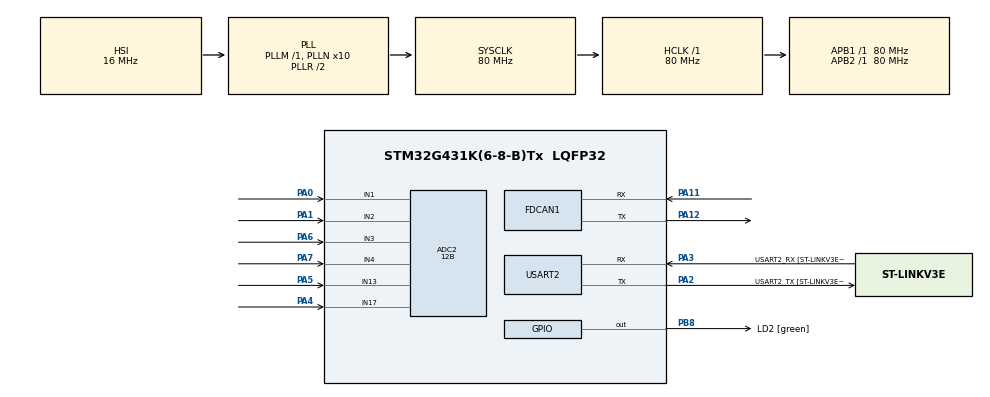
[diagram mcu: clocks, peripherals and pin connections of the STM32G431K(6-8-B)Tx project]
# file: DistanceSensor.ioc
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ADC2.Channel-0\#ChannelRegularConversion=ADC_CHANNEL_1
ADC2.Channel-1\#ChannelRegularConversion=ADC_CHANNEL_2
ADC2.Channel-2\#ChannelRegularConversion=ADC_CHANNEL_17
ADC2.Channel-3\#ChannelRegularConversion=ADC_CHANNEL_13
ADC2.Channel-4\#ChannelRegularConversion=ADC_CHANNEL_3
ADC2.Channel-5\#ChannelRegularConversion=ADC_CHANNEL_4
ADC2.ContinuousConvMode=ENABLE
ADC2.DMAContinuousRequests=ENABLE
ADC2.LowPowerAutoWait=ENABLE
ADC2.NbrOfConversion=6
ADC2.NbrOfConversionFlag=1
ADC2.OffsetNumber-0\#ChannelRegularConversion=ADC_OFFSET_NONE
ADC2.OffsetNumber-1\#ChannelRegularConversion=ADC_OFFSET_NONE
ADC2.OffsetNumber-2\#ChannelRegularConversion=ADC_OFFSET_NONE
ADC2.OffsetNumber-3\#ChannelRegularConversion=ADC_OFFSET_NONE
ADC2.OffsetNumber-4\#ChannelRegularConversion=ADC_OFFSET_NONE
ADC2.OffsetNumber-5\#ChannelRegularConversion=ADC_OFFSET_NONE
ADC2.Rank-0\#ChannelRegularConversion=1
ADC2.Rank-1\#ChannelRegularConversion=2
ADC2.Rank-2\#ChannelRegularConversion=3
ADC2.Rank-3\#ChannelRegularConversion=4
ADC2.Rank-4\#ChannelRegularConversion=5
ADC2.Rank-5\#ChannelRegularConversion=6
ADC2.Resolution=ADC_RESOLUTION_12B
ADC2.SamplingTime-0\#ChannelRegularConversion=ADC_SAMPLETIME_47CYCLES_5
ADC2.SamplingTime-1\#ChannelRegularConversion=ADC_SAMPLETIME_47CYCLES_5
ADC2.SamplingTime-2\#ChannelRegularConversion=ADC_SAMPLETIME_47CYCLES_5
ADC2.SamplingTime-3\#ChannelRegularConversion=ADC_SAMPLETIME_47CYCLES_5
ADC2.SamplingTime-4\#ChannelRegularConversion=ADC_SAMPLETIME_47CYCLES_5
ADC2.SamplingTime-5\#ChannelRegularConversion=ADC_SAMPLETIME_47CYCLES_5
Dma.ADC2.0.Direction=DMA_PERIPH_TO_MEMORY
Dma.ADC2.0.EventEnable=DISABLE
Dma.ADC2.0.Instance=DMA1_Channel2
Dma.ADC2.0.MemDataAlignment=DMA_MDATAALIGN_HALFWORD
Dma.ADC2.0.MemInc=DMA_MINC_ENABLE
Dma.ADC2.0.Mode=DMA_CIRCULAR
Dma.ADC2.0.PeriphDataAlignment=DMA_PDATAALIGN_HALFWORD
Dma.ADC2.0.PeriphInc=DMA_PINC_DISABLE
Dma.ADC2.0.Polarity=HAL_DMAMUX_REQ_GEN_RISING
Dma.ADC2.0.Priority=DMA_PRIORITY_LOW
Dma.ADC2.0.RequestNumber=1
Dma.ADC2.0.SignalID=NONE
Dma.ADC2.0.SyncEnable=DISABLE
Dma.ADC2.0.SyncPolarity=HAL_DMAMUX_SYNC_NO_EVENT
Dma.ADC2.0.SyncRequestNumber=1
Dma.ADC2.0.SyncSignalID=NONE
Dma.Request0=ADC2
FDCAN1.CalculateBaudRateNominal=1000000
FDCAN1.CalculateTimeBitNominal=1000
FDCAN1.CalculateTimeQuantumNominal=62.5
FDCAN1.DataSyncJumpWidth=4
FDCAN1.DataTimeSeg1=5
FDCAN1.DataTimeSeg2=4
FDCAN1.NominalPrescaler=5
FDCAN1.NominalSyncJumpWidth=16
FDCAN1.NominalTimeSeg1=13
FDCAN1.StdFiltersNbr=1
Mcu.Family=STM32G4
Mcu.Name=STM32G431K(6-8-B)Tx
Mcu.Package=LQFP32
NVIC.DMA1_Channel2_IRQn=true\:0\:0\:false\:false\:true\:false\:true\:true
NVIC.PriorityGroup=NVIC_PRIORITYGROUP_4
NVIC.TIM6_DAC_IRQn=true\:0\:0\:false\:false\:true\:true\:true\:true
PA0.Mode=IN1-Single-Ended
PA0.Signal=ADC2_IN1
PA1.Mode=IN2-Single-Ended
PA1.Signal=ADC2_IN2
PA11.Mode=FDCAN_Activate
PA11.Signal=FDCAN1_RX
PA12.Mode=FDCAN_Activate
PA12.Signal=FDCAN1_TX
PA13.GPIO_Label=T_SWDIO
PA13.Mode=Serial_Wire
PA13.Signal=SYS_JTMS-SWDIO
PA14.GPIO_Label=T_SWCLK
PA14.Mode=Serial_Wire
PA14.Signal=SYS_JTCK-SWCLK
PA2.GPIO_Label=USART2_TX [ST-LINKV3E_VCP_RX]
PA2.Mode=Asynchronous
PA2.Signal=USART2_TX
PA3.GPIO_Label=USART2_RX [ST-LINKV3E_VCP_TX]
PA3.Mode=Asynchronous
PA3.Signal=USART2_RX
PA4.Mode=IN17-Single-Ended
PA4.Signal=ADC2_IN17
PA5.Mode=IN13-Single-Ended
PA5.Signal=ADC2_IN13
PA6.Mode=IN3-Single-Ended
PA6.Signal=ADC2_IN3
PA7.Mode=IN4-Single-Ended
PA7.Signal=ADC2_IN4
PB3.GPIO_Label=T_SWO
PB3.Signal=SYS_JTDO-SWO
PB8-BOOT0.GPIO_Label=LD2 [green]
PB8-BOOT0.Signal=GPIO_Output
ProjectManager.HeapSize=0x200
ProjectManager.StackSize=0x400
ProjectManager.TargetToolchain=STM32CubeIDE
RCC.ADC12Freq_Value=80000000
RCC.AHBFreq_Value=80000000
RCC.APB1Freq_Value=80000000
RCC.APB1TimFreq_Value=80000000
RCC.APB2Freq_Value=80000000
RCC.APB2TimFreq_Value=80000000
RCC.CortexFreq_Value=80000000
RCC.EXTERNAL_CLOCK_VALUE=12288000
RCC.HCLKFreq_Value=80000000
RCC.HSE_VALUE=8000000
RCC.HSI48_VALUE=48000000
RCC.HSI_VALUE=16000000
RCC.LSE_VALUE=32768
RCC.PLLN=10
RCC.SYSCLKFreq_VALUE=80000000
RCC.SYSCLKSource=RCC_SYSCLKSOURCE_PLLCLK
RCC.USBFreq_Value=80000000
RCC.VCOOutputFreq_Value=160000000
TIM6.PeriodNoDither=999
TIM6.Prescaler=799
USART2.VirtualMode-Asynchronous=VM_ASYNC
USART2.WordLength=WORDLENGTH_8B
VP_TIM6_VS_ClockSourceINT.Mode=Enable_Timer
board=NUCLEO-G431KB

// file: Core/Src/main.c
/* USER CODE BEGIN Header */
/**
  ******************************************************************************
  * @file           : main.c
  * @brief          : Main program body
  ******************************************************************************
  * @attention
  *
  * Copyright (c) 2023 STMicroelectronics.
  * All rights reserved.
  *
  * This software is licensed under terms that can be found in the LICENSE file
  * in the root directory of this software component.
  * If no LICENSE file comes with this software, it is provided AS-IS.
  *
  ******************************************************************************
  */
/* USER CODE END Header */
#include "main.h"

/* USER CODE BEGIN Includes */
#include <stdio.h>

/* USER CODE END Includes */

/* USER CODE BEGIN PM */
#define CANID_THIS 0x301

/* USER CODE END PM */

ADC_HandleTypeDef hadc2;
DMA_HandleTypeDef hdma_adc2;

FDCAN_HandleTypeDef hfdcan1;

TIM_HandleTypeDef htim6;

UART_HandleTypeDef huart2;

/* USER CODE BEGIN PV */
uint16_t ADCBuff[6];
FDCAN_TxHeaderTypeDef TxHeader;

/* USER CODE END PV */

void SystemClock_Config(void);
static void MX_GPIO_Init(void);
static void MX_DMA_Init(void);
static void MX_USART2_UART_Init(void);
static void MX_ADC2_Init(void);
static void MX_FDCAN1_Init(void);
static void MX_TIM6_Init(void);

/* USER CODE BEGIN 0 */
int _write(int file, char *ptr, int len)
{
	HAL_UART_Transmit(&huart2, (uint8_t *)ptr, len, 10);
	return len;
}

uint16_t Filter(uint16_t Val, uint16_t _Val, uint16_t gain){
	return (Val*gain + _Val*(100-gain)) / 100;
}

/* USER CODE END 0 */

int main(void)
{

  /* MCU Configuration--------------------------------------------------------*/

  /* Reset of all peripherals, Initializes the Flash interface and the Systick. */
  HAL_Init();

  /* Configure the system clock */
  SystemClock_Config();

  /* Initialize all configured peripherals */
  MX_GPIO_Init();
  MX_DMA_Init();
  MX_USART2_UART_Init();
  MX_ADC2_Init();
  MX_FDCAN1_Init();
  MX_TIM6_Init();

  /* Infinite loop */
  while (1)
  {

  }
}

void SystemClock_Config(void)
{
  RCC_OscInitTypeDef RCC_OscInitStruct = {0};
  RCC_ClkInitTypeDef RCC_ClkInitStruct = {0};

  /** Configure the main internal regulator output voltage
  */
  HAL_PWREx_ControlVoltageScaling(PWR_REGULATOR_VOLTAGE_SCALE1);

  /** Initializes the RCC Oscillators according to the specified parameters
  * in the RCC_OscInitTypeDef structure.
  */
  RCC_OscInitStruct.OscillatorType = RCC_OSCILLATORTYPE_HSI;
  RCC_OscInitStruct.HSIState = RCC_HSI_ON;
  RCC_OscInitStruct.HSICalibrationValue = RCC_HSICALIBRATION_DEFAULT;
  RCC_OscInitStruct.PLL.PLLState = RCC_PLL_ON;
  RCC_OscInitStruct.PLL.PLLSource = RCC_PLLSOURCE_HSI;
  RCC_OscInitStruct.PLL.PLLM = RCC_PLLM_DIV1;
  RCC_OscInitStruct.PLL.PLLN = 10;
  RCC_OscInitStruct.PLL.PLLP = RCC_PLLP_DIV2;
  RCC_OscInitStruct.PLL.PLLQ = RCC_PLLQ_DIV2;
  RCC_OscInitStruct.PLL.PLLR = RCC_PLLR_DIV2;
  if (HAL_RCC_OscConfig(&RCC_OscInitStruct) != HAL_OK)
  {
    Error_Handler();
  }

  /** Initializes the CPU, AHB and APB buses clocks
  */
  RCC_ClkInitStruct.ClockType = RCC_CLOCKTYPE_HCLK|RCC_CLOCKTYPE_SYSCLK
                              |RCC_CLOCKTYPE_PCLK1|RCC_CLOCKTYPE_PCLK2;
  RCC_ClkInitStruct.SYSCLKSource = RCC_SYSCLKSOURCE_PLLCLK;
  RCC_ClkInitStruct.AHBCLKDivider = RCC_SYSCLK_DIV1;
  RCC_ClkInitStruct.APB1CLKDivider = RCC_HCLK_DIV1;
  RCC_ClkInitStruct.APB2CLKDivider = RCC_HCLK_DIV1;

  if (HAL_RCC_ClockConfig(&RCC_ClkInitStruct, FLASH_LATENCY_2) != HAL_OK)
  {
    Error_Handler();
  }
}

static void MX_ADC2_Init(void)
{

  ADC_ChannelConfTypeDef sConfig = {0};

  /** Common config
  */
  hadc2.Instance = ADC2;
  hadc2.Init.ClockPrescaler = ADC_CLOCK_SYNC_PCLK_DIV2;
  hadc2.Init.Resolution = ADC_RESOLUTION_12B;
  hadc2.Init.DataAlign = ADC_DATAALIGN_RIGHT;
  hadc2.Init.GainCompensation = 0;
  hadc2.Init.ScanConvMode = ADC_SCAN_ENABLE;
  hadc2.Init.EOCSelection = ADC_EOC_SINGLE_CONV;
  hadc2.Init.LowPowerAutoWait = ENABLE;
  hadc2.Init.ContinuousConvMode = ENABLE;
  hadc2.Init.NbrOfConversion = 6;
  hadc2.Init.DiscontinuousConvMode = DISABLE;
  hadc2.Init.ExternalTrigConv = ADC_SOFTWARE_START;
  hadc2.Init.ExternalTrigConvEdge = ADC_EXTERNALTRIGCONVEDGE_NONE;
  hadc2.Init.DMAContinuousRequests = ENABLE;
  hadc2.Init.Overrun = ADC_OVR_DATA_PRESERVED;
  hadc2.Init.OversamplingMode = DISABLE;
  if (HAL_ADC_Init(&hadc2) != HAL_OK)
  {
    Error_Handler();
  }

  /** Configure Regular Channel
  */
  sConfig.Channel = ADC_CHANNEL_1;
  sConfig.Rank = ADC_REGULAR_RANK_1;
  sConfig.SamplingTime = ADC_SAMPLETIME_47CYCLES_5;
  sConfig.SingleDiff = ADC_SINGLE_ENDED;
  sConfig.OffsetNumber = ADC_OFFSET_NONE;
  sConfig.Offset = 0;
  if (HAL_ADC_ConfigChannel(&hadc2, &sConfig) != HAL_OK)
  {
    Error_Handler();
  }

  /** Configure Regular Channel
  */
  sConfig.Channel = ADC_CHANNEL_2;
  sConfig.Rank = ADC_REGULAR_RANK_2;
  if (HAL_ADC_ConfigChannel(&hadc2, &sConfig) != HAL_OK)
  {
    Error_Handler();
  }

  /** Configure Regular Channel
  */
  sConfig.Channel = ADC_CHANNEL_17;
  sConfig.Rank = ADC_REGULAR_RANK_3;
  if (HAL_ADC_ConfigChannel(&hadc2, &sConfig) != HAL_OK)
  {
    Error_Handler();
  }

  /** Configure Regular Channel
  */
  sConfig.Channel = ADC_CHANNEL_13;
  sConfig.Rank = ADC_REGULAR_RANK_4;
  if (HAL_ADC_ConfigChannel(&hadc2, &sConfig) != HAL_OK)
  {
    Error_Handler();
  }

  /** Configure Regular Channel
  */
  sConfig.Channel = ADC_CHANNEL_3;
  sConfig.Rank = ADC_REGULAR_RANK_5;
  if (HAL_ADC_ConfigChannel(&hadc2, &sConfig) != HAL_OK)
  {
    Error_Handler();
  }

  /** Configure Regular Channel
  */
  sConfig.Channel = ADC_CHANNEL_4;
  sConfig.Rank = ADC_REGULAR_RANK_6;
  if (HAL_ADC_ConfigChannel(&hadc2, &sConfig) != HAL_OK)
  {
    Error_Handler();
  }
  /* USER CODE BEGIN ADC2_Init 2 */
	HAL_ADCEx_Calibration_Start(&hadc2, ADC_SINGLE_ENDED);
	HAL_ADC_Start_DMA(&hadc2, (uint32_t *)ADCBuff, sizeof(ADCBuff) / sizeof(ADCBuff[0]));
	hdma_adc2.Instance->CCR &= ~(DMA_IT_TC | DMA_IT_HT);

  /* USER CODE END ADC2_Init 2 */

}

static void MX_FDCAN1_Init(void)
{

  hfdcan1.Instance = FDCAN1;
  hfdcan1.Init.ClockDivider = FDCAN_CLOCK_DIV1;
  hfdcan1.Init.FrameFormat = FDCAN_FRAME_CLASSIC;
  hfdcan1.Init.Mode = FDCAN_MODE_NORMAL;
  hfdcan1.Init.AutoRetransmission = DISABLE;
  hfdcan1.Init.TransmitPause = DISABLE;
  hfdcan1.Init.ProtocolException = DISABLE;
  hfdcan1.Init.NominalPrescaler = 5;
  hfdcan1.Init.NominalSyncJumpWidth = 16;
  hfdcan1.Init.NominalTimeSeg1 = 13;
  hfdcan1.Init.NominalTimeSeg2 = 2;
  hfdcan1.Init.DataPrescaler = 1;
  hfdcan1.Init.DataSyncJumpWidth = 4;
  hfdcan1.Init.DataTimeSeg1 = 5;
  hfdcan1.Init.DataTimeSeg2 = 4;
  hfdcan1.Init.StdFiltersNbr = 1;
  hfdcan1.Init.ExtFiltersNbr = 0;
  hfdcan1.Init.TxFifoQueueMode = FDCAN_TX_FIFO_OPERATION;
  if (HAL_FDCAN_Init(&hfdcan1) != HAL_OK)
  {
    Error_Handler();
  }
  /* USER CODE BEGIN FDCAN1_Init 2 */
  FDCAN_FilterTypeDef sFilterConfig;
  	sFilterConfig.IdType = FDCAN_STANDARD_ID;
  	sFilterConfig.FilterIndex = 0;
  	sFilterConfig.FilterType = FDCAN_FILTER_MASK;
  	sFilterConfig.FilterConfig = FDCAN_FILTER_TO_RXFIFO0;
  	sFilterConfig.FilterID1 = CANID_THIS;
  	sFilterConfig.FilterID2 = 0x7FF;

  	if (HAL_FDCAN_ConfigFilter(&hfdcan1, &sFilterConfig) != HAL_OK) {
  		Error_Handler();
  	}
  	if (HAL_FDCAN_ConfigGlobalFilter(&hfdcan1, FDCAN_REJECT, FDCAN_REJECT, FDCAN_FILTER_REMOTE, FDCAN_FILTER_REMOTE) != HAL_OK) {
  		Error_Handler();
  	}

  	if (HAL_FDCAN_Start(&hfdcan1) != HAL_OK) {
  		Error_Handler();
  	}
  	if (HAL_FDCAN_ActivateNotification(&hfdcan1, FDCAN_IT_RX_FIFO0_NEW_MESSAGE, 0) != HAL_OK) {
  	  Error_Handler();
  	}

  	TxHeader.IdType = FDCAN_STANDARD_ID;
  	TxHeader.TxFrameType = FDCAN_DATA_FRAME;
  	TxHeader.DataLength = FDCAN_DLC_BYTES_6;
  	TxHeader.ErrorStateIndicator = FDCAN_ESI_ACTIVE;
  	TxHeader.BitRateSwitch = FDCAN_BRS_OFF;
  	TxHeader.FDFormat = FDCAN_CLASSIC_CAN;
  	TxHeader.TxEventFifoControl = FDCAN_NO_TX_EVENTS;
  	TxHeader.MessageMarker = 0;
  	TxHeader.Identifier = 0x300;

  /* USER CODE END FDCAN1_Init 2 */

}

static void MX_TIM6_Init(void)
{

  TIM_MasterConfigTypeDef sMasterConfig = {0};

  htim6.Instance = TIM6;
  htim6.Init.Prescaler = 799;
  htim6.Init.CounterMode = TIM_COUNTERMODE_UP;
  htim6.Init.Period = 999;
  htim6.Init.AutoReloadPreload = TIM_AUTORELOAD_PRELOAD_DISABLE;
  if (HAL_TIM_Base_Init(&htim6) != HAL_OK)
  {
    Error_Handler();
  }
  sMasterConfig.MasterOutputTrigger = TIM_TRGO_RESET;
  sMasterConfig.MasterSlaveMode = TIM_MASTERSLAVEMODE_DISABLE;
  if (HAL_TIMEx_MasterConfigSynchronization(&htim6, &sMasterConfig) != HAL_OK)
  {
    Error_Handler();
  }
  /* USER CODE BEGIN TIM6_Init 2 */
  HAL_TIM_Base_Start_IT(&htim6);

  /* USER CODE END TIM6_Init 2 */

}

static void MX_USART2_UART_Init(void)
{

  huart2.Instance = USART2;
  huart2.Init.BaudRate = 115200;
  huart2.Init.WordLength = UART_WORDLENGTH_8B;
  huart2.Init.StopBits = UART_STOPBITS_1;
  huart2.Init.Parity = UART_PARITY_NONE;
  huart2.Init.Mode = UART_MODE_TX_RX;
  huart2.Init.HwFlowCtl = UART_HWCONTROL_NONE;
  huart2.Init.OverSampling = UART_OVERSAMPLING_16;
  huart2.Init.OneBitSampling = UART_ONE_BIT_SAMPLE_DISABLE;
  huart2.Init.ClockPrescaler = UART_PRESCALER_DIV1;
  huart2.AdvancedInit.AdvFeatureInit = UART_ADVFEATURE_NO_INIT;
  if (HAL_UART_Init(&huart2) != HAL_OK)
  {
    Error_Handler();
  }
  if (HAL_UARTEx_SetTxFifoThreshold(&huart2, UART_TXFIFO_THRESHOLD_1_8) != HAL_OK)
  {
    Error_Handler();
  }
  if (HAL_UARTEx_SetRxFifoThreshold(&huart2, UART_RXFIFO_THRESHOLD_1_8) != HAL_OK)
  {
    Error_Handler();
  }
  if (HAL_UARTEx_DisableFifoMode(&huart2) != HAL_OK)
  {
    Error_Handler();
  }
  /* USER CODE BEGIN USART2_Init 2 */
  setbuf(stdout, NULL);

  /* USER CODE END USART2_Init 2 */

}

static void MX_DMA_Init(void)
{

  /* DMA controller clock enable */
  __HAL_RCC_DMAMUX1_CLK_ENABLE();
  __HAL_RCC_DMA1_CLK_ENABLE();

  /* DMA interrupt init */
  /* DMA1_Channel2_IRQn interrupt configuration */
  HAL_NVIC_SetPriority(DMA1_Channel2_IRQn, 0, 0);
  HAL_NVIC_EnableIRQ(DMA1_Channel2_IRQn);

}

static void MX_GPIO_Init(void)
{
  GPIO_InitTypeDef GPIO_InitStruct = {0};

  /* GPIO Ports Clock Enable */
  __HAL_RCC_GPIOA_CLK_ENABLE();
  __HAL_RCC_GPIOB_CLK_ENABLE();

  /*Configure GPIO pin Output Level */
  HAL_GPIO_WritePin(LD2_GPIO_Port, LD2_Pin, GPIO_PIN_RESET);

  /*Configure GPIO pin : LD2_Pin */
  GPIO_InitStruct.Pin = LD2_Pin;
  GPIO_InitStruct.Mode = GPIO_MODE_OUTPUT_PP;
  GPIO_InitStruct.Pull = GPIO_NOPULL;
  GPIO_InitStruct.Speed = GPIO_SPEED_FREQ_LOW;
  HAL_GPIO_Init(LD2_GPIO_Port, &GPIO_InitStruct);

}

/* USER CODE BEGIN 4 */
void HAL_TIM_PeriodElapsedCallback(TIM_HandleTypeDef *htim){
	uint8_t Distance[6] = {};
	static uint8_t _Distance[6] = {};
	static uint8_t count = 0;
	//static uint8t _ADC
	uint8_t Gain = 30;

	if(htim == &htim6){
		for(uint8_t i=0; i<6; i++){

				Distance[i] = (float)160000/(ADCBuff[i]*4.17 + 23.28);
				if(Distance[i] >80)Distance[i] = 80;
				Distance[i] = Filter(Distance[i], _Distance[i], Gain);
				_Distance[i] = Distance[i];
			}

		//count++;

		//if(count==9){
			printf("%8d %8d %8d %8d %8d %8d\r\n", Distance[0],Distance[1],Distance[2],Distance[3],Distance[4],Distance[5]);
			/*if(HAL_FDCAN_AddMessageToTxFifoQ(&hfdcan1, &TxHeader, ADCBuff)!=HAL_OK){
				Error_Handler();
			}*/
			//count=0;
		//}
	}
}

/* USER CODE END 4 */

void Error_Handler(void)
{
  __disable_irq();
  while (1)
  {
  }
}
